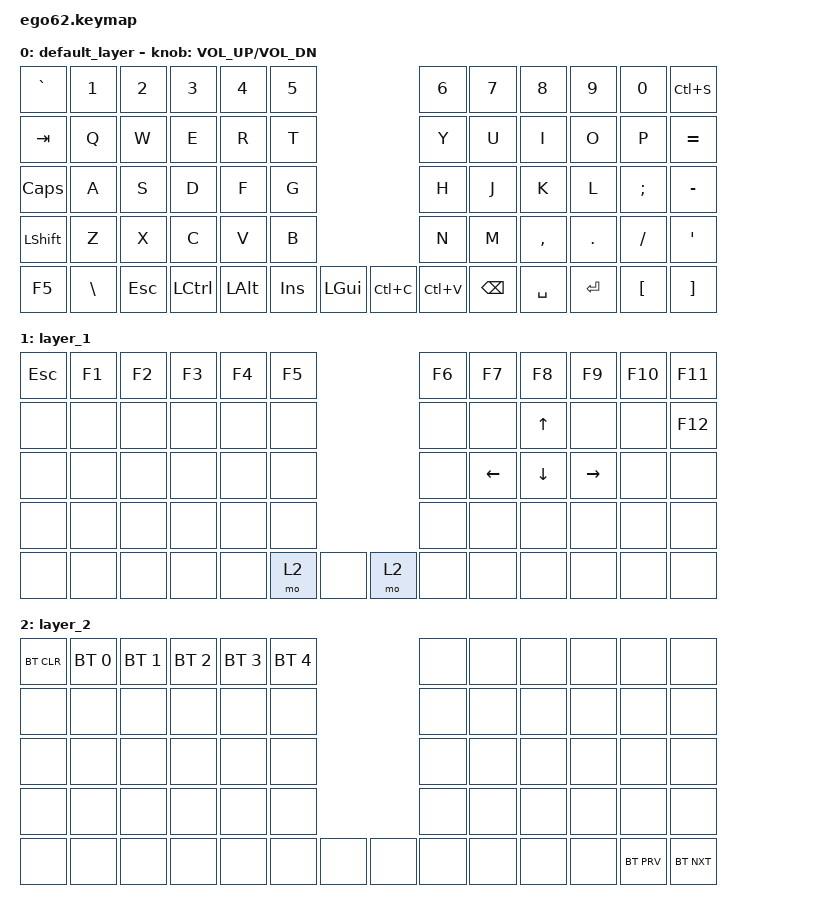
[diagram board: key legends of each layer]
/*
 * Copyright (c) 2020 The ZMK Contributors
 *
 * SPDX-License-Identifier: MIT
 */

#include <behaviors.dtsi>
#include <dt-bindings/zmk/bt.h>
#include <dt-bindings/zmk/keys.h>

/ {
    keymap {
        compatible = "zmk,keymap";

        default_layer {
            bindings = <
&kp GRAVE     &kp N1         &kp N2   &kp N3     &kp N4    &kp N5                        &kp N6     &kp N7         &kp N8     &kp N9     &kp N0         &kp LC(S)
&kp TAB       &kp Q          &kp W    &kp E      &kp R     &kp T                         &kp Y      &kp U          &kp I      &kp O      &kp P          &kp EQUAL
&kp CAPSLOCK  &kp A          &kp S    &kp D      &kp F     &kp G                         &kp H      &kp J          &kp K      &kp L      &kp SEMICOLON  &kp MINUS
&kp LSHFT     &kp Z          &kp X    &kp C      &kp V     &kp B                         &kp N      &kp M          &kp COMMA  &kp DOT    &kp FSLH       &kp SQT
&kp F5        &kp BACKSLASH  &kp ESC  &kp LCTRL  &kp LALT  &kp INS  &kp LGUI  &kp LC(C)  &kp LC(V)  &kp BACKSPACE  &kp SPACE  &kp ENTER  &kp LBKT       &kp RBKT
            >;

            sensor-bindings = <&inc_dec_kp C_VOL_UP C_VOL_DN>;
        };

        layer_1 {
            bindings = <
&kp ESC  &kp F1  &kp F2  &kp F3  &kp F4  &kp F5                &kp F6  &kp F7    &kp F8    &kp F9     &kp F10  &kp F11
&none    &none   &none   &none   &none   &none                 &none   &none     &kp UP    &none      &none    &kp F12
&none    &none   &none   &none   &none   &none                 &none   &kp LEFT  &kp DOWN  &kp RIGHT  &none    &none
&none    &none   &none   &none   &none   &none                 &none   &none     &none     &none      &none    &none
&none    &none   &none   &none   &none   &mo 2   &none  &mo 2  &none   &none     &none     &none      &none    &none
            >;
        };

        layer_2 {
            bindings = <
&bt BT_CLR  &bt BT_SEL 0  &bt BT_SEL 1  &bt BT_SEL 2  &bt BT_SEL 3  &bt BT_SEL 4                &none  &none  &none  &none  &none       &none
&none       &none         &none         &none         &none         &none                       &none  &none  &none  &none  &none       &none
&none       &none         &none         &none         &none         &none                       &none  &none  &none  &none  &none       &none
&none       &none         &none         &none         &none         &none                       &none  &none  &none  &none  &none       &none
&none       &none         &none         &none         &none         &none         &none  &none  &none  &none  &none  &none  &bt BT_PRV  &bt BT_NXT
            >;
        };
    };
};
